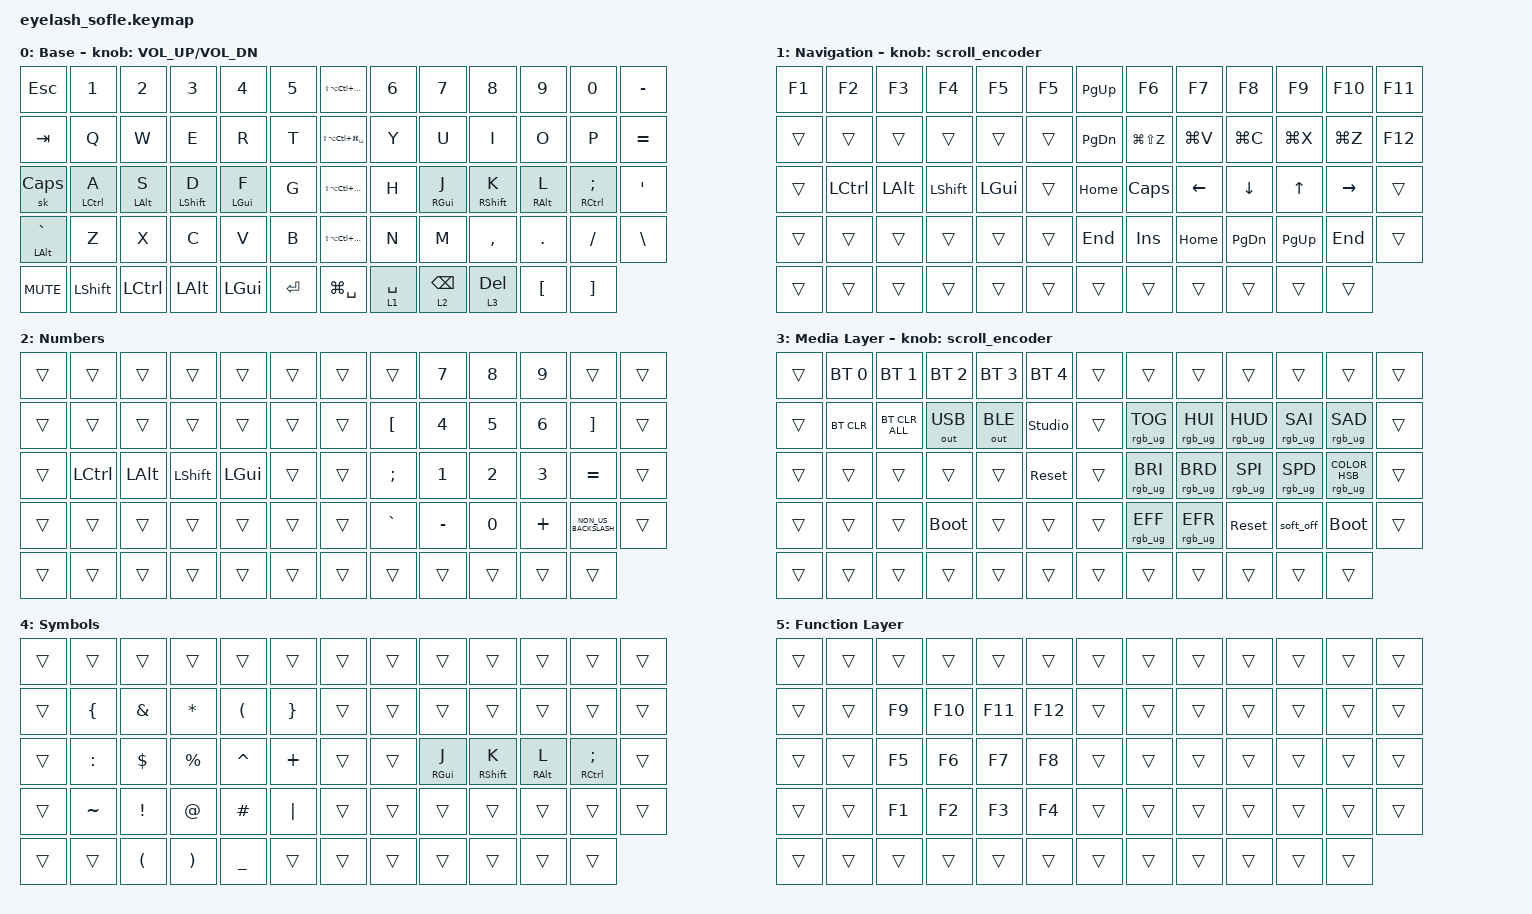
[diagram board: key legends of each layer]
#define ZMK_POINTING_DEFAULT_MOVE_VAL 1200  // 600
#define ZMK_POINTING_DEFAULT_SCRL_VAL 25   // 10

#include <input/processors.dtsi>
#include <zephyr/dt-bindings/input/input-event-codes.h>
#include <behaviors.dtsi>
#include <dt-bindings/zmk/bt.h>
#include <dt-bindings/zmk/keys.h>
#include <dt-bindings/zmk/outputs.h>
#include <dt-bindings/zmk/pointing.h>
#include <dt-bindings/zmk/rgb.h>

&mmv_input_listener { input-processors = <&zip_xy_scaler 2 1>; };

&msc_input_listener { input-processors = <&zip_scroll_scaler 2 1>; };

&msc {
    acceleration-exponent = <1>;      // 0
    time-to-max-speed-ms = <100>;       // 300
    delay-ms = <0>;                   // 0
};

&mt { flavor = "balanced"; };

&mmv {
    time-to-max-speed-ms = <500>;
    acceleration-exponent = <1>;
    trigger-period-ms = <16>;
};

/ {
    scroll_encoder: scroll_encoder {
        compatible = "zmk,behavior-sensor-rotate";
        #sensor-binding-cells = <0>;
        bindings = <&msc SCRL_DOWN>, <&msc SCRL_UP>;

        tap-ms = <100>;
    };

    behaviors {
    };

    combos { compatible = "zmk,combos"; };

    macros {
        open_ray: open_ray {
            compatible = "zmk,behavior-macro";
            #binding-cells = <0>;
            bindings = <&kp LEFT_GUI &kp SPACE>;
            label = "OPEN_RAY";
        };
    };

    keymap {
        compatible = "zmk,keymap";

        Base {
            bindings = <
&kp ESC             &kp N1              &kp N2            &kp N3            &kp N4          &kp N5       &kp LS(LA(LC(LG(ENTER))))        &kp N6       &kp N7           &kp N8             &kp N9            &kp N0                  &kp MINUS
&kp TAB             &kp Q               &kp W             &kp E             &kp R           &kp T        &kp LS(LA(LC(LG(SPACE))))        &kp Y        &kp U            &kp I              &kp O             &kp P                   &kp EQUAL
&sk CAPS            &mt LEFT_CONTROL A  &mt LEFT_ALT S    &mt LEFT_SHIFT D  &mt LEFT_GUI F  &kp G        &kp LS(LA(LC(LG(LEFT_ARROW))))   &kp H        &mt RIGHT_GUI J  &mt RIGHT_SHIFT K  &mt RIGHT_ALT L   &mt RIGHT_CONTROL SEMI  &kp APOS
&mt LEFT_ALT GRAVE  &kp Z               &kp X             &kp C             &kp V           &kp B        &kp LS(LA(LC(LG(RIGHT_ARROW))))  &kp N        &kp M            &kp COMMA          &kp DOT           &kp FSLH                &kp BSLH
&kp C_MUTE          &kp LSHIFT          &kp LEFT_CONTROL  &kp LEFT_ALT      &kp LEFT_GUI    &kp ENTER    &kp LG(SPACE)                    &lt 1 SPACE  &lt 2 BACKSPACE  &lt 3 DEL          &kp LEFT_BRACKET  &kp RIGHT_BRACKET
            >;

            sensor-bindings = <&inc_dec_kp C_VOLUME_UP C_VOL_DN>;
            display-name = "Base";
        };

        nav {
            bindings = <
&kp F1  &kp F2     &kp F3    &kp F4     &kp F5    &kp F5    &kp PG_UP      &kp F6         &kp F7     &kp F8          &kp F9        &kp F10    &kp F11
&trans  &trans     &trans    &trans     &trans    &trans    &kp PAGE_DOWN  &kp LG(LS(Z))  &kp LG(V)  &kp LG(C)       &kp LG(X)     &kp LG(Z)  &kp F12
&trans  &kp LCTRL  &kp LALT  &kp LSHFT  &kp LGUI  &trans    &kp HOME       &kp CAPS       &kp LEFT   &kp DOWN_ARROW  &kp UP_ARROW  &kp RIGHT  &trans
&trans  &trans     &trans    &trans     &trans    &trans    &kp END        &kp INSERT     &kp HOME   &kp PG_DN       &kp PG_UP     &kp END    &trans
&trans  &trans     &trans    &trans     &trans    &trans    &trans         &trans         &trans     &trans          &trans        &trans
            >;

            display-name = "Navigation";
            sensor-bindings = <&scroll_encoder>;
        };

        num {
            bindings = <
&trans  &trans     &trans    &trans     &trans    &trans    &trans  &trans            &kp N7     &kp N8  &kp N9    &trans                &trans
&trans  &trans     &trans    &trans     &trans    &trans    &trans  &kp LEFT_BRACKET  &kp N4     &kp N5  &kp N6    &kp RIGHT_BRACKET     &trans
&trans  &kp LCTRL  &kp LALT  &kp LSHFT  &kp LGUI  &trans    &trans  &kp SEMICOLON     &kp N1     &kp N2  &kp N3    &kp EQUAL             &trans
&trans  &trans     &trans    &trans     &trans    &trans    &trans  &kp GRAVE         &kp MINUS  &kp N0  &kp PLUS  &kp NON_US_BACKSLASH  &trans
&trans  &trans     &trans    &trans     &trans    &trans    &trans  &trans            &trans     &trans  &trans    &trans
            >;

            display-name = "Numbers";
        };

        media {
            bindings = <
&trans  &bt BT_SEL 0  &bt BT_SEL 1    &bt BT_SEL 2  &bt BT_SEL 3  &bt BT_SEL 4      &trans  &trans           &trans           &trans           &trans           &trans                            &trans
&trans  &bt BT_CLR    &bt BT_CLR_ALL  &out OUT_USB  &out OUT_BLE  &studio_unlock    &trans  &rgb_ug RGB_TOG  &rgb_ug RGB_HUI  &rgb_ug RGB_HUD  &rgb_ug RGB_SAI  &rgb_ug RGB_SAD                   &trans
&trans  &trans        &trans          &trans        &trans        &sys_reset        &trans  &rgb_ug RGB_BRI  &rgb_ug RGB_BRD  &rgb_ug RGB_SPI  &rgb_ug RGB_SPD  &rgb_ug RGB_COLOR_HSB(118,72,34)  &trans
&trans  &trans        &trans          &bootloader   &trans        &trans            &trans  &rgb_ug RGB_EFF  &rgb_ug RGB_EFR  &sys_reset       &soft_off        &bootloader                       &trans
&trans  &trans        &trans          &trans        &trans        &trans            &trans  &trans           &trans           &trans           &trans           &trans
            >;

            display-name = "Media Layer";
            sensor-bindings = <&scroll_encoder>;
        };

        Symbols {
            bindings = <
&trans  &trans          &trans                &trans                 &trans                &trans             &trans  &trans  &trans           &trans             &trans           &trans               &trans
&trans  &kp LEFT_BRACE  &kp AMPERSAND         &kp ASTRK              &kp LEFT_PARENTHESIS  &kp RIGHT_BRACE    &trans  &trans  &trans           &trans             &trans           &trans               &trans
&trans  &kp COLON       &kp DOLLAR            &kp PERCENT            &kp CARET             &kp PLUS           &trans  &trans  &mt RIGHT_GUI J  &mt RIGHT_SHIFT K  &mt RIGHT_ALT L  &mt RCTRL SEMICOLON  &trans
&trans  &kp TILDE       &kp EXCLAMATION       &kp AT_SIGN            &kp HASH              &kp PIPE           &trans  &trans  &trans           &trans             &trans           &trans               &trans
&trans  &trans          &kp LEFT_PARENTHESIS  &kp RIGHT_PARENTHESIS  &kp UNDER             &trans             &trans  &trans  &trans           &trans             &trans           &trans
            >;
        };

        Fn {
            bindings = <
&trans  &trans  &trans  &trans   &trans   &trans     &trans  &trans  &trans  &trans  &trans  &trans  &trans
&trans  &trans  &kp F9  &kp F10  &kp F11  &kp F12    &trans  &trans  &trans  &trans  &trans  &trans  &trans
&trans  &trans  &kp F5  &kp F6   &kp F7   &kp F8     &trans  &trans  &trans  &trans  &trans  &trans  &trans
&trans  &trans  &kp F1  &kp F2   &kp F3   &kp F4     &trans  &trans  &trans  &trans  &trans  &trans  &trans
&trans  &trans  &trans  &trans   &trans   &trans     &trans  &trans  &trans  &trans  &trans  &trans
            >;

            label = "Function Layer";
        };
    };
};
